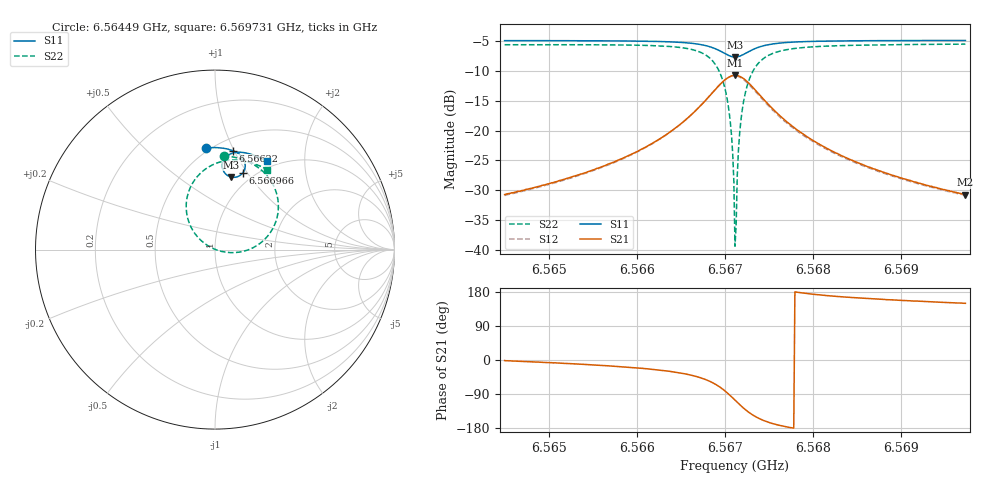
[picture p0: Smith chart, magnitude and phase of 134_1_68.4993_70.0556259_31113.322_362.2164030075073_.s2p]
#  HZ  S  RI  R  50.00
! Rohde & Schwarz Vector Network Analyzer
! Rohde-Schwarz,ZNB20-2Port,1311601062101988,3.16
! Created: UTC 3/20/2024, 5:09:44 PM
! freq[Hz]  re:S11  im:S11  re:S21  im:S21  re:S12  im:S12  re:S22  im:S22
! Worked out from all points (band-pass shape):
!   401 points, 6.56449 GHz to 6.569731 GHz, reference 50 ohm
!   highest |S21| = -10.73 dB at 6.56711 GHz (marker M1); lowest = -30.8 dB at 6.569731 GHz (marker M2)
!   |S21| within 3 dB of the highest: 6.566849 GHz to 6.567373 GHz (524.1 kHz wide, 0.00798 % of centre)
!   lowest |S11| = -7.7 dB at 6.56711 GHz (marker M3), VSWR 2.41, Z = 41.8 + j40.8 ohm
!   |S11| at or under -10 dB: nowhere
!   |S22| runs from -39.4 to -5.5 dB; largest |S21 - S12| = 0.014
!   S11 on the Smith chart (normalised r, x): 6.56449 GHz: 0.47, +0.79; 6.56622 GHz: 0.62, +0.99; 6.566966 GHz: 0.88, +0.95; 6.569731 GHz: 0.90, +1.32
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6.5644902e9  -0.0525 0.5666  0.029 -0.000772  0.0285 -0.00135  0.0476 0.5235
6.565368e9  0.0199 0.5675  0.0425 -0.00837  0.0418 -0.00905  0.1322 0.5087
6.5662195e9  0.1007 0.551  0.0741 -0.0355  0.0729 -0.0365  0.2481 0.4516
6.5662457e9  0.1038 0.5499  0.0757 -0.0375  0.0745 -0.0384  0.2529 0.4479
6.5667436e9  0.1623 0.4976  0.1112 -0.1272  0.1088 -0.1298  0.351 0.2732
6.5668746e9  0.168 0.4609  0.1005 -0.1913  0.0957 -0.1948  0.3372 0.1513
6.5669663e9  0.1553 0.4283  0.0612 -0.2471  0.0527 -0.2503  0.2658 0.0469
6.5670056e9  0.1424 0.4156  0.0311 -0.268  0.0207 -0.2698  0.2102 0.00958
6.5670449e9  0.1253 0.4062  -0.00694 -0.2819  -0.019 -0.2813  0.1402 -0.0133
6.5670711e9  0.1118 0.4031  -0.0354 -0.2854  -0.0481 -0.2826  0.0887 -0.017
6.5670973e9  0.0976 0.4029  -0.0651 -0.2832  -0.0776 -0.2782  0.0361 -0.01
6.5671104e9  0.0907 0.4041  -0.0797 -0.2797  -0.0919 -0.2737  0.0104 -0.00248
6.5671235e9  0.0837 0.406  -0.0938 -0.275  -0.1057 -0.2678  -0.0143 0.00777
6.5671366e9  0.0772 0.4087  -0.1076 -0.2689  -0.1188 -0.2608  -0.0373 0.0203
6.5671628e9  0.0653 0.4161  -0.1322 -0.253  -0.142 -0.2431  -0.0787 0.0516
6.567189e9  0.0555 0.4256  -0.1526 -0.2336  -0.1605 -0.2225  -0.1115 0.0887
6.5672414e9  0.0435 0.4478  -0.1793 -0.1891  -0.1833 -0.1774  -0.1508 0.1697
6.5673069e9  0.0411 0.475  -0.1894 -0.1361  -0.1897 -0.1255  -0.1594 0.2633
6.5675558e9  0.0797 0.5297  -0.1452 -0.0285  -0.142 -0.0239  -0.0581 0.4451
6.5679882e9  0.1427 0.5423  -0.0831 0.00883  -0.0809 0.0102  0.0813 0.4978
6.5688659e9  0.2258 0.5223  -0.0401 0.0153  -0.0393 0.0158  0.2119 0.481
6.5697306e9  0.2903 0.4915  -0.0249 0.0146  -0.0245 0.0148  0.2894 0.446
